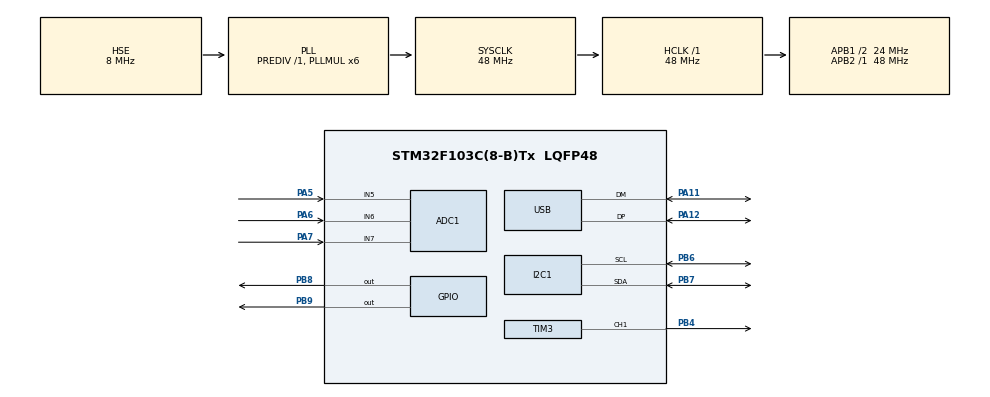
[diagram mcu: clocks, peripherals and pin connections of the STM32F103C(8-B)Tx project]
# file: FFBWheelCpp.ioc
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ADC1.Channel-0\#ChannelRegularConversion=ADC_CHANNEL_5
ADC1.Channel-1\#ChannelRegularConversion=ADC_CHANNEL_6
ADC1.Channel-2\#ChannelRegularConversion=ADC_CHANNEL_7
ADC1.ContinuousConvMode=DISABLE
ADC1.NbrOfConversion=3
ADC1.NbrOfConversionFlag=1
ADC1.Rank-0\#ChannelRegularConversion=1
ADC1.Rank-1\#ChannelRegularConversion=2
ADC1.Rank-2\#ChannelRegularConversion=3
ADC1.SamplingTime-0\#ChannelRegularConversion=ADC_SAMPLETIME_1CYCLE_5
ADC1.SamplingTime-1\#ChannelRegularConversion=ADC_SAMPLETIME_1CYCLE_5
ADC1.SamplingTime-2\#ChannelRegularConversion=ADC_SAMPLETIME_1CYCLE_5
ADC1.master=1
Dma.ADC1.0.Direction=DMA_PERIPH_TO_MEMORY
Dma.ADC1.0.Instance=DMA1_Channel1
Dma.ADC1.0.MemDataAlignment=DMA_MDATAALIGN_HALFWORD
Dma.ADC1.0.MemInc=DMA_MINC_ENABLE
Dma.ADC1.0.Mode=DMA_NORMAL
Dma.ADC1.0.PeriphDataAlignment=DMA_PDATAALIGN_HALFWORD
Dma.ADC1.0.PeriphInc=DMA_PINC_DISABLE
Dma.ADC1.0.Priority=DMA_PRIORITY_LOW
Dma.Request0=ADC1
FREERTOS.Tasks01=mainTask,24,128,StartMainTask,Default,NULL,Dynamic,NULL,NULL;task02,24,128,StartTask02,Default,NULL,Dynamic,NULL,NULL;task03,24,128,StartTask03,Default,NULL,Dynamic,NULL,NULL;task04,24,128,StartTask04,Default,NULL,Dynamic,NULL,NULL
Mcu.Family=STM32F1
Mcu.Name=STM32F103C(8-B)Tx
Mcu.Package=LQFP48
NVIC.DMA1_Channel1_IRQn=true\:5\:0\:false\:false\:true\:true\:false\:true\:true
NVIC.PriorityGroup=NVIC_PRIORITYGROUP_4
NVIC.USB_LP_CAN1_RX0_IRQn=true\:5\:0\:false\:false\:true\:true\:false\:true\:true
PA11.Mode=Device
PA11.Signal=USB_DM
PA12.Mode=Device
PA12.Signal=USB_DP
PA13.Mode=Serial_Wire
PA13.Signal=SYS_JTMS-SWDIO
PA14.Mode=Serial_Wire
PA14.Signal=SYS_JTCK-SWCLK
PA5.Signal=ADCx_IN5
PA6.Signal=ADCx_IN6
PA7.Signal=ADCx_IN7
PB4.Signal=S_TIM3_CH1
PB6.Mode=I2C
PB6.Signal=I2C1_SCL
PB7.Mode=I2C
PB7.Signal=I2C1_SDA
PB8.Signal=GPIO_Output
PB9.Signal=GPIO_Output
PD0-OSC_IN.Mode=HSE-External-Oscillator
PD0-OSC_IN.Signal=RCC_OSC_IN
PD1-OSC_OUT.Mode=HSE-External-Oscillator
PD1-OSC_OUT.Signal=RCC_OSC_OUT
ProjectManager.HeapSize=0x200
ProjectManager.StackSize=0x400
ProjectManager.TargetToolchain=STM32CubeIDE
RCC.ADCPresc=RCC_ADCPCLK2_DIV4
RCC.AHBFreq_Value=48000000
RCC.APB1CLKDivider=RCC_HCLK_DIV2
RCC.APB1Freq_Value=24000000
RCC.APB1TimFreq_Value=48000000
RCC.APB2Freq_Value=48000000
RCC.APB2TimFreq_Value=48000000
RCC.HCLKFreq_Value=48000000
RCC.PLLMUL=RCC_PLL_MUL6
RCC.SYSCLKFreq_VALUE=48000000
RCC.SYSCLKSource=RCC_SYSCLKSOURCE_PLLCLK
RCC.USBFreq_Value=48000000
SH.ADCx_IN5.0=ADC1_IN5,IN5
SH.ADCx_IN6.0=ADC1_IN6,IN6
SH.ADCx_IN7.0=ADC1_IN7,IN7
SH.S_TIM3_CH1.0=TIM3_CH1,PWM Generation1 CH1
TIM3.Channel-PWM\ Generation1\ CH1=TIM_CHANNEL_1
TIM3.Period=1919
USB_DEVICE.CLASS_NAME_FS=CUSTOM_HID
USB_DEVICE.CUSTOM_HID_FS_BINTERVAL=0x1
USB_DEVICE.PRODUCT_STRING_CUSTOMHID_FS=FFB Steering Wheel
USB_DEVICE.USBD_CUSTOMHID_OUTREPORT_BUF_SIZE=64
USB_DEVICE.USBD_CUSTOM_HID_REPORT_DESC_SIZE=255
USB_DEVICE.VirtualMode=CustomHid
USB_DEVICE.VirtualModeFS=Custom_Hid_FS
VP_FREERTOS_VS_CMSIS_V2.Mode=CMSIS_V2
VP_TIM3_VS_ClockSourceINT.Mode=Internal
VP_USB_DEVICE_VS_USB_DEVICE_CUSTOM_HID_FS.Mode=CUSTOM_HID_FS
board=custom

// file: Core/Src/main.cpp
/* USER CODE BEGIN Header */
/**
 ******************************************************************************
 * @file           : main.c
 * @brief          : Main program body
 ******************************************************************************
 * @attention
 *
 * Copyright (c) 2023 STMicroelectronics.
 * All rights reserved.
 *
 * This software is licensed under terms that can be found in the LICENSE file
 * in the root directory of this software component.
 * If no LICENSE file comes with this software, it is provided AS-IS.
 *
 ******************************************************************************
 */
/* USER CODE END Header */
#include "main.h"
#include "cmsis_os.h"
#include "usb_device.h"

/* USER CODE BEGIN Includes */
#include "FfbReportHandler.h"
#include "FfbWheel.h"
#include "HIDReportType.h"
#include <chrono>
#include "usbd_customhid.h"
#include "helpers.h"
#include "globals.h"
/* USER CODE END Includes */

ADC_HandleTypeDef hadc1;
DMA_HandleTypeDef hdma_adc1;

I2C_HandleTypeDef hi2c1;

TIM_HandleTypeDef htim3;

/* Definitions for mainTask */
osThreadId_t mainTaskHandle;
const osThreadAttr_t mainTask_attributes = { .name = "mainTask", .stack_size =
		128 * 4, .priority = (osPriority_t) osPriorityNormal, };
/* Definitions for task02 */
osThreadId_t task02Handle;
const osThreadAttr_t task02_attributes = { .name = "task02", .stack_size = 128
		* 4, .priority = (osPriority_t) osPriorityNormal, };
/* Definitions for task03 */
osThreadId_t task03Handle;
const osThreadAttr_t task03_attributes = { .name = "task03", .stack_size = 128
		* 4, .priority = (osPriority_t) osPriorityNormal, };
/* Definitions for task04 */
osThreadId_t task04Handle;
const osThreadAttr_t task04_attributes = { .name = "task04", .stack_size = 128
		* 4, .priority = (osPriority_t) osPriorityNormal, };
/* USER CODE BEGIN PV */
reportHID_t reportHID = { 1, 0, 0, 0, 0, 0, 0, 0, 0, 0 };

volatile uint16_t adcResultsDMA[3];
const int adcChannelCount = sizeof(adcResultsDMA) / sizeof(adcResultsDMA[0]);
volatile int adcConversionComplete = 0; // set by callback

uint8_t fx_ratio_i = 50; // Reduce effects to a certain ratio of the total power to have a margin for the endstop
int32_t torque = 0; // last torque
int32_t effectTorque = 0; // last torque
int32_t lastEnc = 0;
uint8_t endstop_gain_i = 4; // Sets how much extra torque per count above endstop is added. High = stiff endstop. Low = softer

void *handler;

int16_t debug;
int32_t torqueTest;
int32_t addtorqueTest;
int32_t endstopTorqueTest;

/* USER CODE END PV */

void SystemClock_Config(void);
static void MX_GPIO_Init(void);
static void MX_DMA_Init(void);
static void MX_ADC1_Init(void);
static void MX_I2C1_Init(void);
static void MX_TIM3_Init(void);
void StartMainTask(void *argument);
void StartTask02(void *argument);
void StartTask03(void *argument);
void StartTask04(void *argument);

/* USER CODE BEGIN 0 */
int16_t updateEndstop() {
	int8_t clipdir = cliptest<int32_t, int32_t>(lastEnc, -6144, 6144);
	if (clipdir == 0) {
		return 0;
	}
	int32_t addtorque = 0;

	addtorque += clip<int32_t, int32_t>(abs(lastEnc) - 6144, -6144, 6144);
	addtorque *= (float) endstop_gain_i; // Apply endstop gain for stiffness
	addtorque *= -clipdir;
	addtorqueTest = addtorque;

	return clip<int32_t, int32_t>(addtorque, -500, 500);
}
/* USER CODE END 0 */

int main(void) {

	/* MCU Configuration--------------------------------------------------------*/

	/* Reset of all peripherals, Initializes the Flash interface and the Systick. */
	HAL_Init();

	/* Configure the system clock */
	SystemClock_Config();

	/* Initialize all configured peripherals */
	MX_GPIO_Init();
	MX_DMA_Init();
	MX_ADC1_Init();
	MX_I2C1_Init();
	MX_TIM3_Init();
	/* USER CODE BEGIN 2 */
	handler = createFfbReportHandler();
	HAL_TIM_PWM_Start(&htim3, TIM_CHANNEL_1);
	/* USER CODE END 2 */

	/* Init scheduler */
	osKernelInitialize();

	/* Create the thread(s) */
	/* creation of mainTask */
	mainTaskHandle = osThreadNew(StartMainTask, NULL, &mainTask_attributes);

	/* creation of task02 */
	task02Handle = osThreadNew(StartTask02, NULL, &task02_attributes);

	/* creation of task03 */
	task03Handle = osThreadNew(StartTask03, NULL, &task03_attributes);

	/* creation of task04 */
	task04Handle = osThreadNew(StartTask04, NULL, &task04_attributes);

	/* Start scheduler */
	osKernelStart();

	/* We should never get here as control is now taken by the scheduler */
	/* Infinite loop */
	while (1) {

	}
}

void SystemClock_Config(void) {
	RCC_OscInitTypeDef RCC_OscInitStruct = { 0 };
	RCC_ClkInitTypeDef RCC_ClkInitStruct = { 0 };
	RCC_PeriphCLKInitTypeDef PeriphClkInit = { 0 };

	/** Initializes the RCC Oscillators according to the specified parameters
	 * in the RCC_OscInitTypeDef structure.
	 */
	RCC_OscInitStruct.OscillatorType = RCC_OSCILLATORTYPE_HSE;
	RCC_OscInitStruct.HSEState = RCC_HSE_ON;
	RCC_OscInitStruct.HSEPredivValue = RCC_HSE_PREDIV_DIV1;
	RCC_OscInitStruct.HSIState = RCC_HSI_ON;
	RCC_OscInitStruct.PLL.PLLState = RCC_PLL_ON;
	RCC_OscInitStruct.PLL.PLLSource = RCC_PLLSOURCE_HSE;
	RCC_OscInitStruct.PLL.PLLMUL = RCC_PLL_MUL6;
	if (HAL_RCC_OscConfig(&RCC_OscInitStruct) != HAL_OK) {
		Error_Handler();
	}

	/** Initializes the CPU, AHB and APB buses clocks
	 */
	RCC_ClkInitStruct.ClockType = RCC_CLOCKTYPE_HCLK | RCC_CLOCKTYPE_SYSCLK
			| RCC_CLOCKTYPE_PCLK1 | RCC_CLOCKTYPE_PCLK2;
	RCC_ClkInitStruct.SYSCLKSource = RCC_SYSCLKSOURCE_PLLCLK;
	RCC_ClkInitStruct.AHBCLKDivider = RCC_SYSCLK_DIV1;
	RCC_ClkInitStruct.APB1CLKDivider = RCC_HCLK_DIV2;
	RCC_ClkInitStruct.APB2CLKDivider = RCC_HCLK_DIV1;

	if (HAL_RCC_ClockConfig(&RCC_ClkInitStruct, FLASH_LATENCY_1) != HAL_OK) {
		Error_Handler();
	}
	PeriphClkInit.PeriphClockSelection = RCC_PERIPHCLK_ADC | RCC_PERIPHCLK_USB;
	PeriphClkInit.AdcClockSelection = RCC_ADCPCLK2_DIV4;
	PeriphClkInit.UsbClockSelection = RCC_USBCLKSOURCE_PLL;
	if (HAL_RCCEx_PeriphCLKConfig(&PeriphClkInit) != HAL_OK) {
		Error_Handler();
	}
}

static void MX_ADC1_Init(void) {

	ADC_ChannelConfTypeDef sConfig = { 0 };

	/** Common config
	 */
	hadc1.Instance = ADC1;
	hadc1.Init.ScanConvMode = ADC_SCAN_ENABLE;
	hadc1.Init.ContinuousConvMode = DISABLE;
	hadc1.Init.DiscontinuousConvMode = DISABLE;
	hadc1.Init.ExternalTrigConv = ADC_SOFTWARE_START;
	hadc1.Init.DataAlign = ADC_DATAALIGN_RIGHT;
	hadc1.Init.NbrOfConversion = 3;
	if (HAL_ADC_Init(&hadc1) != HAL_OK) {
		Error_Handler();
	}

	/** Configure Regular Channel
	 */
	sConfig.Channel = ADC_CHANNEL_5;
	sConfig.Rank = ADC_REGULAR_RANK_1;
	sConfig.SamplingTime = ADC_SAMPLETIME_1CYCLE_5;
	if (HAL_ADC_ConfigChannel(&hadc1, &sConfig) != HAL_OK) {
		Error_Handler();
	}

	/** Configure Regular Channel
	 */
	sConfig.Channel = ADC_CHANNEL_6;
	sConfig.Rank = ADC_REGULAR_RANK_2;
	if (HAL_ADC_ConfigChannel(&hadc1, &sConfig) != HAL_OK) {
		Error_Handler();
	}

	/** Configure Regular Channel
	 */
	sConfig.Channel = ADC_CHANNEL_7;
	sConfig.Rank = ADC_REGULAR_RANK_3;
	if (HAL_ADC_ConfigChannel(&hadc1, &sConfig) != HAL_OK) {
		Error_Handler();
	}

}

static void MX_I2C1_Init(void) {

	hi2c1.Instance = I2C1;
	hi2c1.Init.ClockSpeed = 100000;
	hi2c1.Init.DutyCycle = I2C_DUTYCYCLE_2;
	hi2c1.Init.OwnAddress1 = 0;
	hi2c1.Init.AddressingMode = I2C_ADDRESSINGMODE_7BIT;
	hi2c1.Init.DualAddressMode = I2C_DUALADDRESS_DISABLE;
	hi2c1.Init.OwnAddress2 = 0;
	hi2c1.Init.GeneralCallMode = I2C_GENERALCALL_DISABLE;
	hi2c1.Init.NoStretchMode = I2C_NOSTRETCH_DISABLE;
	if (HAL_I2C_Init(&hi2c1) != HAL_OK) {
		Error_Handler();
	}

}

static void MX_TIM3_Init(void) {

	TIM_ClockConfigTypeDef sClockSourceConfig = { 0 };
	TIM_MasterConfigTypeDef sMasterConfig = { 0 };
	TIM_OC_InitTypeDef sConfigOC = { 0 };

	htim3.Instance = TIM3;
	htim3.Init.Prescaler = 0;
	htim3.Init.CounterMode = TIM_COUNTERMODE_UP;
	htim3.Init.Period = 1919;
	htim3.Init.ClockDivision = TIM_CLOCKDIVISION_DIV1;
	htim3.Init.AutoReloadPreload = TIM_AUTORELOAD_PRELOAD_DISABLE;
	if (HAL_TIM_Base_Init(&htim3) != HAL_OK) {
		Error_Handler();
	}
	sClockSourceConfig.ClockSource = TIM_CLOCKSOURCE_INTERNAL;
	if (HAL_TIM_ConfigClockSource(&htim3, &sClockSourceConfig) != HAL_OK) {
		Error_Handler();
	}
	if (HAL_TIM_PWM_Init(&htim3) != HAL_OK) {
		Error_Handler();
	}
	sMasterConfig.MasterOutputTrigger = TIM_TRGO_RESET;
	sMasterConfig.MasterSlaveMode = TIM_MASTERSLAVEMODE_DISABLE;
	if (HAL_TIMEx_MasterConfigSynchronization(&htim3, &sMasterConfig) != HAL_OK) {
		Error_Handler();
	}
	sConfigOC.OCMode = TIM_OCMODE_PWM1;
	sConfigOC.Pulse = 0;
	sConfigOC.OCPolarity = TIM_OCPOLARITY_HIGH;
	sConfigOC.OCFastMode = TIM_OCFAST_DISABLE;
	if (HAL_TIM_PWM_ConfigChannel(&htim3, &sConfigOC, TIM_CHANNEL_1) != HAL_OK) {
		Error_Handler();
	}
	HAL_TIM_MspPostInit(&htim3);

}

static void MX_DMA_Init(void) {

	/* DMA controller clock enable */
	__HAL_RCC_DMA1_CLK_ENABLE();

	/* DMA interrupt init */
	/* DMA1_Channel1_IRQn interrupt configuration */
	HAL_NVIC_SetPriority(DMA1_Channel1_IRQn, 5, 0);
	HAL_NVIC_EnableIRQ(DMA1_Channel1_IRQn);

}

static void MX_GPIO_Init(void) {
	GPIO_InitTypeDef GPIO_InitStruct = { 0 };

	/* GPIO Ports Clock Enable */
	__HAL_RCC_GPIOD_CLK_ENABLE();
	__HAL_RCC_GPIOA_CLK_ENABLE();
	__HAL_RCC_GPIOB_CLK_ENABLE();

	/*Configure GPIO pin Output Level */
	HAL_GPIO_WritePin(GPIOB, GPIO_PIN_8 | GPIO_PIN_9, GPIO_PIN_RESET);

	/*Configure GPIO pins : PB8 PB9 */
	GPIO_InitStruct.Pin = GPIO_PIN_8 | GPIO_PIN_9;
	GPIO_InitStruct.Mode = GPIO_MODE_OUTPUT_PP;
	GPIO_InitStruct.Pull = GPIO_NOPULL;
	GPIO_InitStruct.Speed = GPIO_SPEED_FREQ_LOW;
	HAL_GPIO_Init(GPIOB, &GPIO_InitStruct);

}

/* USER CODE BEGIN 4 */
void HAL_ADC_ConvCpltCallback(ADC_HandleTypeDef *hadc) {
	adcConversionComplete = 1;
}
/* USER CODE END 4 */

void StartMainTask(void *argument) {
	/* init code for USB_DEVICE */
	MX_USB_DEVICE_Init();
	/* USER CODE BEGIN 5 */
	int32_t lastTorque;

	/* Infinite loop */
	for (;;) {
		lastTorque = torque;
		torque = 0;
		lastEnc = reportHID.X;

		effectTorque = callCalculateEffects(handler, reportHID.X, 1);

		if (abs(effectTorque) >= 1919) {
			//clipped
		}
		// Scale for power and endstop margin
		float effect_margin_scaler = ((float) fx_ratio_i / 255.0);
		effectTorque *= effect_margin_scaler;

		// Always check if endstop reached
		int32_t endstopTorque = updateEndstop();
		endstopTorqueTest = endstopTorque;

		// Calculate total torque
		torque += effectTorque + endstopTorque;

		// Torque changed
		if (torque != lastTorque) {
			// Update torque and clip
			torque = clip<int32_t, int32_t>(torque, -MAX_TORQUE, MAX_TORQUE);
			if (abs(torque) == MAX_TORQUE) {
				//clipped
			}
			// Send to motor driver
			//TODO turn motor
			if (torque < 0) {
				HAL_GPIO_WritePin(R_EN_GPIO_Port, R_EN_Pin, GPIO_PIN_RESET); // Установка R_EN на низкий уровень
				HAL_GPIO_WritePin(L_EN_GPIO_Port, L_EN_Pin, GPIO_PIN_SET); // Установка L_EN на высокий уровень
			} else {
				HAL_GPIO_WritePin(R_EN_GPIO_Port, R_EN_Pin, GPIO_PIN_SET); // Установка R_EN на высокий уровень
				HAL_GPIO_WritePin(L_EN_GPIO_Port, L_EN_Pin, GPIO_PIN_RESET); // Установка L_EN на низкий уровень
			}
			int32_t val = (uint32_t) abs(torque) + 600;
			torqueTest = torque;
//			printf("%ld", torque);
			__HAL_TIM_SET_COMPARE(&htim3, TIM_CHANNEL_1, val);
		}
		osDelay(1);
	}
	/* USER CODE END 5 */
}

void StartTask02(void *argument) {
	/* USER CODE BEGIN StartTask02 */
	HAL_StatusTypeDef ret;
	uint8_t raw[2] = { 0, 0 };
	int16_t prevPos = 0;
	int16_t temp;
	int rdCnt = 0;

	static const uint8_t H_ADDR = 0x36 << 1;
	static uint8_t H_DATA = 0x0C;

	ret = HAL_I2C_Master_Transmit(&hi2c1, H_ADDR, &H_DATA, 1, HAL_MAX_DELAY);
	if (ret != HAL_OK) {
	}
	ret = HAL_I2C_Master_Receive(&hi2c1, H_ADDR, raw, 2, HAL_MAX_DELAY);
	if (ret != HAL_OK) {
	}
	prevPos = raw[1] | (raw[0] << 8);

	/* Infinite loop */
	for (;;) {
		ret = HAL_I2C_Master_Transmit(&hi2c1, H_ADDR, &H_DATA, 1, HAL_MAX_DELAY);
		if (ret != HAL_OK) {
			continue;
		}
		ret = HAL_I2C_Master_Receive(&hi2c1, H_ADDR, raw, 2, HAL_MAX_DELAY);
		if (ret != HAL_OK) {
			continue;
		}
		temp = raw[1] | (raw[0] << 8);

		if (prevPos > 2596 && prevPos <= 4096 && temp >= 0 && temp <= 1596) {
			rdCnt++;
		} else if (temp > 2596 && temp <= 4096 && prevPos >= 0 && prevPos <= 1596) {
			rdCnt--;
		}
		if (temp + 4096 * rdCnt < reportHID.X + 2
				&& temp + 4096 * rdCnt > reportHID.X - 2) {
			// Do nothing
		} else {
			reportHID.X = temp + rdCnt * 4096;
		}
		prevPos = temp;
		debug = temp;

		HAL_GPIO_TogglePin(GPIOC, GPIO_PIN_13);
		USBD_CUSTOM_HID_SendReport(&hUsbDeviceFS, (uint8_t*) &reportHID,
				sizeof(reportHID_t));
		osDelay(1);
	}
	/* USER CODE END StartTask02 */
}

void StartTask03(void *argument) {
	/* USER CODE BEGIN StartTask03 */
	/* Infinite loop */
	for (;;) {

		if (reportHID.X < -6144) {
//			__HAL_TIM_SET_COMPARE(&htim3, TIM_CHANNEL_1, (-6144 - reportHID.X));
//			HAL_GPIO_WritePin(R_EN_GPIO_Port, R_EN_Pin, GPIO_PIN_SET); // Установка R_EN на высокий уровень
//			HAL_GPIO_WritePin(L_EN_GPIO_Port, L_EN_Pin, GPIO_PIN_RESET); // Установка L_EN на низкий уровень
		} else if (reportHID.X > 6144) {
//			__HAL_TIM_SET_COMPARE(&htim3, TIM_CHANNEL_1, (reportHID.X - 6144));
//			HAL_GPIO_WritePin(R_EN_GPIO_Port, R_EN_Pin, GPIO_PIN_RESET); // Установка R_EN на низкий уровень
//			HAL_GPIO_WritePin(L_EN_GPIO_Port, L_EN_Pin, GPIO_PIN_SET); // Установка L_EN на высокий уровень
		} else if (reportHID.X > -10 && reportHID.X < 10) {
//			__HAL_TIM_SET_COMPARE(&htim3, TIM_CHANNEL_1, 0);
//			HAL_GPIO_WritePin(R_EN_GPIO_Port, R_EN_Pin, GPIO_PIN_RESET); // Установка R_EN на низкий уровень
//			HAL_GPIO_WritePin(L_EN_GPIO_Port, L_EN_Pin, GPIO_PIN_RESET); // Установка L_EN на низкий уровень
		} else {
//			__HAL_TIM_SET_COMPARE(&htim3, TIM_CHANNEL_1, 1919);
//			HAL_GPIO_WritePin(R_EN_GPIO_Port, R_EN_Pin, GPIO_PIN_RESET); // Установка R_EN на низкий уровень
//			HAL_GPIO_WritePin(L_EN_GPIO_Port, L_EN_Pin, GPIO_PIN_RESET); // Установка L_EN на низкий уровень
		}
		osDelay(1);
	}
	/* USER CODE END StartTask03 */
}

void StartTask04(void *argument) {
	/* USER CODE BEGIN StartTask04 */
	/* Infinite loop */
	for (;;) {

		HAL_ADC_Start_DMA(&hadc1, (uint32_t*) adcResultsDMA, adcChannelCount);
		while (adcConversionComplete == 0) {

		}
		adcConversionComplete = 0;

//		if (adcResultsDMA[0] < reportHID.Z + 20
//				&& adcResultsDMA[0] > reportHID.Z - 20) {
//			// Do nothing
//		} else {
//			reportHID.Z = adcResultsDMA[0];
//		}
//		if (adcResultsDMA[1] < reportHID.RX + 20
//				&& adcResultsDMA[1] > reportHID.RX - 20) {
//			// Do nothing
//		} else {
//			reportHID.RX = adcResultsDMA[1];
//		}
//		if (adcResultsDMA[2] < reportHID.RY + 20
//				&& adcResultsDMA[2] > reportHID.RY - 20) {
//			// Do nothing
//		} else {
//			reportHID.RY = adcResultsDMA[2];
//		}

		osDelay(1);
	}
	/* USER CODE END StartTask04 */
}

void Error_Handler(void) {
	__disable_irq();
	while (1) {
	}
}
